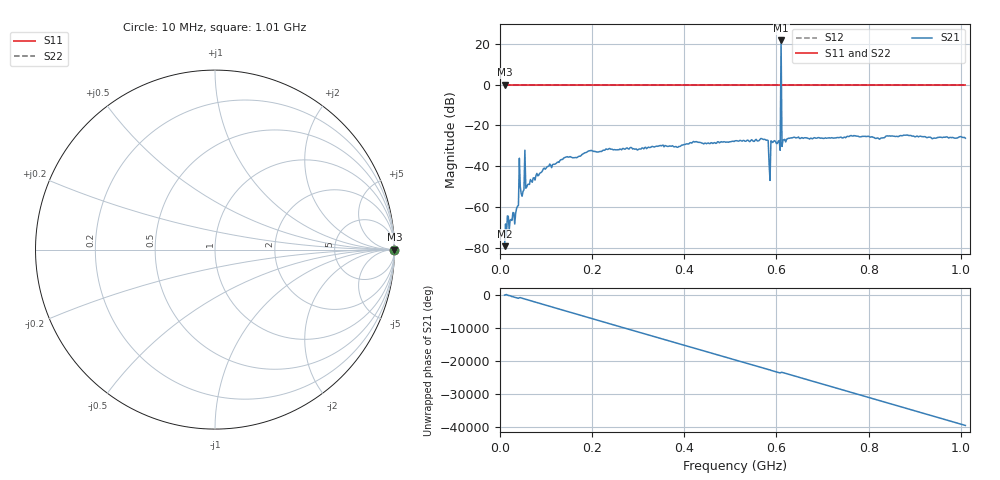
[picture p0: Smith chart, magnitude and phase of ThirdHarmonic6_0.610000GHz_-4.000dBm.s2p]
! 8/15/2025 7:58:36 PM
! C:\ANRITSUVNA\TEMP\TEMP.S2P
! CHANNEL.1
! TR.MEASUREMENT
! RAW.DATA
! RF.CORRECTION.OFF
! AVERAGING.OFF
! IF.BANDWIDTH: 5KHZ
! SWEEPTYPE:  FREQ.SWEEP(Linear)
! Reference Plane Port Info
! PORT:  PORT1  PORT2
! DISTANCE:  0  m  0  m
! TIME:  0  s  0  s
! PHASE.OFFSET:  0  deg.  0  deg.
! LOSS:  0  dB  0  dB
! REF.LOSS:  0  dB  0  dB
! REF.FREQ:  0  Hz  0  Hz
! Power Info
! POWER:  -20  dBm  -20  dBm
! EFF.POWER:  -20  dBm  -20  dBm
! SOURCE.ATTEN:  0  dB  0  dB
! TEST.ATTEN:  0  dB  0  dB
# GHZ S RI R 50.0
! FREQ.GHZ  S11RE  S11IM  S21RE  S21IM  S12RE  S12IM  S22RE  S22IM
!; PortSelection: Port_12
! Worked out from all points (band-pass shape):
!   501 points, 10 MHz to 1.01 GHz, reference 50 ohm
!   highest |S21| = 21.66 dB at 610 MHz (marker M1); lowest = -79.1 dB at 10 MHz (marker M2)
!   |S21| within 3 dB of the highest: 609.8885 MHz to 610.1155 MHz (227 kHz wide, 0.0372 % of centre)
!   lowest |S11| = 0.0 dB at 10 MHz (marker M3)
!   |S11| at or under -10 dB: nowhere
!   |S22| runs from 0.0 to 0.0 dB; largest |S21 - S12| = 11
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0.01  1 0  3.64e-05 -0.000104  1 0  1 0
0.016  1 0  0.000393 -0.000467  1 0  1 0
0.036  1 0  -0.000886 -0.000267  1 0  1 0
0.042  1 0  -0.0136 -0.00791  1 0  1 0
0.058  1 0  0.00285 0.00121  1 0  1 0
0.06  1 0  0.00196 -0.00299  1 0  1 0
0.106  1 0  -0.00773 -0.00653  1 0  1 0
0.178  1 0  -0.0192 -0.00335  1 0  1 0
0.344  1 0  0.0299 -0.00975  1 0  1 0
0.51  1 0  -0.0367 0.0202  1 0  1 0
0.578  1 0  0.0162 -0.0402  1 0  1 0
0.582  1 0  -0.0275 0.0325  1 0  1 0
0.588  1 0  -0.0131 -0.0399  1 0  1 0
0.592  1 0  -0.00171 0.0383  1 0  1 0
0.604  1 0  0.0383 -0.0167  1 0  1 0
0.606  1 0  -0.0101 -0.041  1 0  1 0
0.61  1 0  11.19 -4.628  1 0  1 0
0.614  1 0  0.0179 -0.039  1 0  1 0
0.616  1 0  -0.0368 -0.0258  1 0  1 0
0.678  1 0  -0.0295 -0.0368  1 0  1 0
0.844  1 0  0.048 0.0273  1 0  1 0
1.01  1 0  -0.0488 0.00116  1 0  1 0
